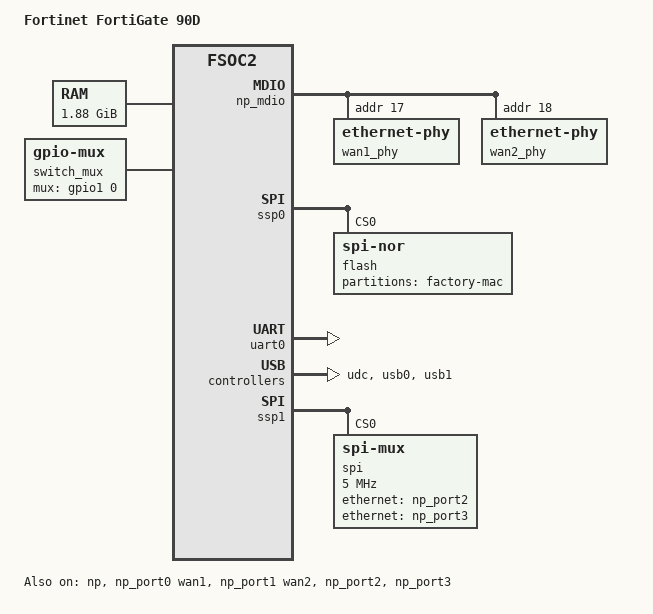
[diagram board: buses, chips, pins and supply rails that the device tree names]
// SPDX-License-Identifier: GPL-2.0-only OR MIT
/dts-v1/;

/*
 * FortiGate 90D. Same SoC as the 60D (FortiSOC2), so the layout follows
 * fortinet-fg60d.dts, but the system runs on core 1 (the boot loader of the
 * 90D starts core 1 and parks core 0), hence its own interrupt controller.
 * The two BCM53128 switches are managed through SPI, as DSA switches behind
 * links 2 and 3 of the network processor: they form ONE DSA tree joined by
 * their cascade, switch 0 port 0 <-> switch 1 port 7, a DSA link; each
 * switch keeps its own CPU port (link 2 / link 3 of the NP). GPIO lines
 * and LEDs other than the switch multiplexer are not described: their use
 * is not known.
 */

#include "fsoc2.dtsi"
#include <dt-bindings/gpio/gpio.h>

/ {
	model = "Fortinet FortiGate 90D";
	compatible = "fortinet,fg90d", "fortinet,fsoc2";

	aliases {
		serial0 = &uart0;
	};

	chosen {
		stdout-path = "serial0:9600n8";
	};

	/*
	 * 2 GiB of RAM; the top 128 MiB are reserved below, as on the 60D.
	 */
	memory@0 {
		device_type = "memory";
		reg = <0x00000000 0x78000000>;
	};

	reserved-memory {
		#address-cells = <1>;
		#size-cells = <1>;
		ranges;

		/*
		 * Same regions as the 60D, not checked on the 90D (same boot
		 * loader family). Kept reserved so that nothing the boot
		 * loader or the network processor may use is handed to the
		 * kernel.
		 */
		np_loader: np-loader@9a00000 {
			reg = <0x09a00000 0x00200000>;
			no-map;
		};

		np_pbuf: np-pbuf@9c00000 {
			reg = <0x09c00000 0x01000000>;
			no-map;
		};

		np_flow: np-flow@3c000000 {
			reg = <0x3c000000 0x03800000>;
			no-map;
		};

		np_sa: np-sa@3fc00000 {
			reg = <0x3fc00000 0x00400000>;
			no-map;
		};

		vendor_reserved: memory@78000000 {
			reg = <0x78000000 0x08000000>;
			no-map;
		};
	};

	/*
	 * Internal 8 GB USB boot disk: write windows of its installer, armed
	 * from user space (sector 0, where only the name and build number of
	 * image 1 and the active flags of partitions 1 and 2 may change, and
	 * partition 2, the slot of image 1), and the persistent window of the
	 * writable file system of that slot (rootfs_data, sectors 557056 to
	 * 1048575, after the 16 380 KiB boot image at sectors 524289 to
	 * 557048), open without arming. rootfs_data is aligned on the 4 KiB
	 * pages of the page cache of the disk, through which its loop device
	 * writes; sectors 557049 to 557055 and 1048576 of the slot stay unused.
	 */
	write-windows {
		compatible = "fortinet,usb-disk-write-windows";
		fortinet,disk-vendor = "FORTINET";
		fortinet,disk-model = "61_V030910_008";
		fortinet,disk-sectors = /bits/ 64 <15654912>;
		fortinet,write-windows = <0 1>, <524289 524288>;
		fortinet,sector0-bytes = <0x30 32>, <0x12c 4>, <0x1be 1>, <0x1ce 1>;
		fortinet,persistent-windows = <557056 491520>;
	};

	/* Writable file system of the slot of image 1, for user space */
	rootfs-data {
		compatible = "fortinet,disk-rootfs-data";
		fortinet,disk-vendor = "FORTINET";
		fortinet,disk-model = "61_V030910_008";
		fortinet,disk-sectors = /bits/ 64 <15654912>;
		fortinet,rootfs-data = <557056 491520>;
	};
};

/*
 * No GPIO line is known on this board: all of them are reserved, never
 * touched. No button, no LED is described.
 */
&gpio1 {
	status = "okay";
};

/*
 * L2 cache left off for now: the auxiliary control value found on the 90D
 * (0x12033) differs from the one the driver writes (0x12023).
 */
&l2 {
	status = "disabled";
};

/*
 * The interrupt controller of the core on the 90D is the one at
 * 0xf0500000, not 0xf0400000 as on the 60D: the controller at 0xf0400000
 * latches the interrupts but its output does not reach the core.
 */
&intc {
	reg = <0xf0500000 0x1000>;
};

/*
 * Network processor: base MAC address from the boot flash (mac_base below);
 * not a device, the cell would hold the probe of the network processor
 * forever if the flash failed, as on the 60D. Reset pins: GPIO 0, 2, 4 and
 * 6 of the NP GPIO block, pulsed to release the PHYs and switches from
 * reset (GPIO 6 in addition to the 60D).
 */
&np {
	memory-region = <&np_pbuf>, <&np_loader>, <&np_flow>, <&np_sa>;
	nvmem-cells = <&mac_base 0>;
	nvmem-cell-names = "mac-base";
	post-init-providers = <&mac_base>;
	fortinet,reset-pins = <0 2 4 6>;
	status = "okay";
};

/*
 * PHYs of WAN1 and WAN2 at MDIO addresses 0x11 and 0x12 (0x18/0x19 on the
 * 60D), without LED description.
 */
&np_mdio {
	wan1_phy: ethernet-phy@11 {
		reg = <0x11>;
	};

	wan2_phy: ethernet-phy@12 {
		reg = <0x12>;
	};
};

/*
 * MAC ranks: internal1 = base + 0,
 * wan1 = base + 1, wan2 = base + 2, internalN = base + N + 1 for N = 2 to 14
 * (internal2 = base + 3 ... internal14 = base + 15).
 *
 * Links of the NP: wan1 on link 0 and wan2 on link 1, but on logical
 * interfaces (LIFs) 2 and 3, the LIF numbers of the 60D, hence
 * "fortinet,logical-interface". The two BCM53128 switches sit on links 2
 * and 3 (internal1-7 and internal8-14 on LIFs 4 to 17): see the DSA
 * conduits below.
 */
&np_port0 {
	label = "wan1";
	nvmem-cells = <&mac_base 1>;
	nvmem-cell-names = "mac-address";
	post-init-providers = <&mac_base>;
	fortinet,logical-interface = <2>;
	phy-handle = <&wan1_phy>;
	phy-mode = "rgmii-id";
	status = "okay";
};

&np_port1 {
	label = "wan2";
	nvmem-cells = <&mac_base 2>;
	nvmem-cell-names = "mac-address";
	post-init-providers = <&mac_base>;
	fortinet,logical-interface = <3>;
	phy-handle = <&wan2_phy>;
	phy-mode = "rgmii-id";
	status = "okay";
};

/*
 * SPI NOR flash of the boot loader (Winbond W25X40CL, 512 KiB), read only.
 * Only the 6 bytes of the base MAC address are described: the factory data
 * block sits at 0x3c000 and the MAC at +0x1880 into it, as on the 60D. The
 * partition is deliberately reduced to these 6 bytes because the factory
 * block of the 90D also holds a device certificate and a private key, which
 * must never be exposed.
 */
&ssp0 {
	status = "okay";

	flash@0 {
		compatible = "jedec,spi-nor";
		reg = <0>;

		partitions {
			compatible = "fixed-partitions";
			#address-cells = <1>;
			#size-cells = <1>;

			partition@3d880 {
				label = "factory-mac";
				reg = <0x3d880 0x6>;
				read-only;

				nvmem-layout {
					compatible = "fixed-layout";
					#address-cells = <1>;
					#size-cells = <1>;

					mac_base: mac-address@0 {
						compatible = "mac-base";
						reg = <0x0 0x6>;
						#nvmem-cell-cells = <1>;
					};
				};
			};
		};
	};
};

&uart0 {
	status = "okay";
};

/* Front panel "MGMT" port, the device side */
&udc {
	status = "okay";
};

&usb0 {
	status = "okay";
};

/* Internal USB flash drive, read only (see the rootfs) */
&usb1 {
	status = "okay";
};

/*
 * Two BCM53128 switches on the SPI bus, the switch selected by its chip
 * select and a board GPIO:
 *  - second FTSSP010 port (0xe4600000, SPI mode 3, set up by the boot
 *    loader), Broadcom SPI protocol of b53_spi;
 *  - chip select: line 19 of the GPIO block at 0xe4c00000, never line 15,
 *    the chip select of the boot flash;
 *  - board GPIO 0 selects the switch: 0 the one on link 2 (internal1-7),
 *    1 the one on link 3 (internal8-14).
 */
/ {
	/* Board GPIO 0: which switch the SPI bus reaches (0: link 2, 1: link 3) */
	switch_mux: mux-controller {
		compatible = "gpio-mux";
		#mux-control-cells = <0>;
		mux-gpios = <&gpio1 0 GPIO_ACTIVE_HIGH>;
	};
};

/*
 * Board GPIO: line 0 only is freed, for the switch multiplexer (an output
 * under the boot loader, DIR 0x01fe7f7f).
 * Every other line stays reserved, never touched.
 */
&gpio1 {
	gpio-reserved-ranges = <1 31>;
};

&{/soc} {
	/*
	 * Second FTSSP010 port, regular SPI messages (SPI_FSOC2_SSP_BUS). The
	 * data set and data clear registers of the chip select block are
	 * those of ssp0 (shared, mapped but not requested); the driver checks
	 * that line 19 is not the line of any flash port before it writes
	 * anything. "pad" = SCU+0x328, whose bit 31 the driver sets to mux
	 * the chip-select pad to GPIO, before driving line 19 as an output.
	 */
	ssp1: spi@e4600000 {
		compatible = "fortinet,fsoc2-ssp-bus";
		reg = <0xe4600000 0x1c>, <0xe4c00010 0x8>, <0xe5100328 0x4>;
		reg-names = "ssp", "cs", "pad";
		fortinet,cs-line = <19>;
		#address-cells = <1>;
		#size-cells = <0>;

		spi@0 {
			compatible = "spi-mux";
			reg = <0>;
			/* SCLKDIV 5 of the boot loader; the port keeps its rate */
			spi-max-frequency = <5000000>;
			spi-cpol;
			spi-cpha;
			mux-controls = <&switch_mux>;
			#address-cells = <1>;
			#size-cells = <0>;

			/*
			 * Front port of each switch port (LIFs 4-17 = switch
			 * ports internal1-14), board variant 1 of two, the
			 * variant being given by board GPIO 16: GPIO 16 reads
			 * high on this unit, and unplugging front ports 1 and 2 dropped
			 * ports 7 and 6. internal1-7 are on ports 7 down to 1,
			 * internal8-14 on ports 6 down to 0 (variant 0 has
			 * internal1-7 on ports 6, 7, 4, 5, 3, 2, 1 and internal8-14
			 * on ports 6, 4, 5, 2, 3, 1, 0).
			 */
			ethernet-switch@0 {
				compatible = "brcm,bcm53128";
				reg = <0>;		/* mux state 0: link 2 */
				spi-max-frequency = <5000000>;
				spi-cpol;
				spi-cpha;
				dsa,member = <0 0>;
				/*
				 * Traffic class 7 on every user port: the
				 * network processor classes the frames of
				 * the switch on their tag (port and class)
				 * and never matches port 0 in class 0.
				 */
				brcm,port-traffic-class = <7>;

				ethernet-ports {
					#address-cells = <1>;
					#size-cells = <0>;

					/* Cascade to switch 1 port 7, DSA link */
					sw0_p0: ethernet-port@0 {
						reg = <0>;
						link = <&sw1_p7>;
					};

					ethernet-port@1 {
						reg = <1>;
						label = "internal7";
						nvmem-cells = <&mac_base 8>;
						nvmem-cell-names = "mac-address";
						post-init-providers = <&mac_base>;
					};

					ethernet-port@2 {
						reg = <2>;
						label = "internal6";
						nvmem-cells = <&mac_base 7>;
						nvmem-cell-names = "mac-address";
						post-init-providers = <&mac_base>;
					};

					ethernet-port@3 {
						reg = <3>;
						label = "internal5";
						nvmem-cells = <&mac_base 6>;
						nvmem-cell-names = "mac-address";
						post-init-providers = <&mac_base>;
					};

					ethernet-port@4 {
						reg = <4>;
						label = "internal4";
						nvmem-cells = <&mac_base 5>;
						nvmem-cell-names = "mac-address";
						post-init-providers = <&mac_base>;
					};

					ethernet-port@5 {
						reg = <5>;
						label = "internal3";
						nvmem-cells = <&mac_base 4>;
						nvmem-cell-names = "mac-address";
						post-init-providers = <&mac_base>;
					};

					ethernet-port@6 {
						reg = <6>;
						label = "internal2";
						nvmem-cells = <&mac_base 3>;
						nvmem-cell-names = "mac-address";
						post-init-providers = <&mac_base>;
					};

					ethernet-port@7 {
						reg = <7>;
						label = "internal1";
						nvmem-cells = <&mac_base 0>;
						nvmem-cell-names = "mac-address";
						post-init-providers = <&mac_base>;
					};

					/* IMP port, RGMII to link 2 of the NP (assumed, as on the 60D) */
					ethernet-port@8 {
						reg = <8>;
						ethernet = <&np_port2>;
						phy-mode = "rgmii";

						fixed-link {
							speed = <1000>;
							full-duplex;
						};
					};
				};
			};

			ethernet-switch@1 {
				compatible = "brcm,bcm53128";
				reg = <1>;		/* mux state 1: link 3 */
				spi-max-frequency = <5000000>;
				spi-cpol;
				spi-cpha;
				dsa,member = <0 1>;
				/*
				 * Traffic class 7 on every user port: the
				 * network processor classes the frames of
				 * the switch on their tag (port and class)
				 * and never matches port 0 in class 0.
				 */
				brcm,port-traffic-class = <7>;

				ethernet-ports {
					#address-cells = <1>;
					#size-cells = <0>;

					ethernet-port@0 {
						reg = <0>;
						label = "internal14";
						nvmem-cells = <&mac_base 15>;
						nvmem-cell-names = "mac-address";
						post-init-providers = <&mac_base>;
					};

					ethernet-port@1 {
						reg = <1>;
						label = "internal13";
						nvmem-cells = <&mac_base 14>;
						nvmem-cell-names = "mac-address";
						post-init-providers = <&mac_base>;
					};

					ethernet-port@2 {
						reg = <2>;
						label = "internal12";
						nvmem-cells = <&mac_base 13>;
						nvmem-cell-names = "mac-address";
						post-init-providers = <&mac_base>;
					};

					ethernet-port@3 {
						reg = <3>;
						label = "internal11";
						nvmem-cells = <&mac_base 12>;
						nvmem-cell-names = "mac-address";
						post-init-providers = <&mac_base>;
					};

					ethernet-port@4 {
						reg = <4>;
						label = "internal10";
						nvmem-cells = <&mac_base 11>;
						nvmem-cell-names = "mac-address";
						post-init-providers = <&mac_base>;
					};

					ethernet-port@5 {
						reg = <5>;
						label = "internal9";
						nvmem-cells = <&mac_base 10>;
						nvmem-cell-names = "mac-address";
						post-init-providers = <&mac_base>;
					};

					ethernet-port@6 {
						reg = <6>;
						label = "internal8";
						nvmem-cells = <&mac_base 9>;
						nvmem-cell-names = "mac-address";
						post-init-providers = <&mac_base>;
					};

					/* Cascade to switch 0 port 0, DSA link */
					sw1_p7: ethernet-port@7 {
						reg = <7>;
						link = <&sw0_p0>;
					};

					/* IMP port, RGMII to link 3 of the NP (assumed, as on the 60D) */
					ethernet-port@8 {
						reg = <8>;
						ethernet = <&np_port3>;
						phy-mode = "rgmii";

						fixed-link {
							speed = <1000>;
							full-duplex;
						};
					};
				};
			};
		};
	};
};

/*
 * DSA conduits. The network processor classes the frames of each switch
 * port on a LIF of its own (FORTINET_NP4LITE_DSA, enabled in the kernel
 * configuration): internal1 to internal7 on LIFs 4 to 10, internal8 to
 * internal14 on LIFs 11 to 17 (internalN = LIF N + 3);
 * "fortinet,switch-logical-interfaces" gives the LIF of switch port 0 to 7
 * (0: no port), board variant 1 (see the switches above). The conduits
 * take LIFs 18 (link 2) and 19 (link 3) for the switch frames the NP does
 * not class by port; LIFs 0 and 1 (used by the boot loader) are left
 * alone. LIFs above 8 need FORTINET_NP4LITE_DSA: without it, the NP
 * refuses them at probe. Assumed: no delay on the NP side, the switch adds
 * them, as on the 60D.
 */
&np_port2 {
	fortinet,logical-interface = <18>;
	fortinet,switch-logical-interfaces = <0 10 9 8 7 6 5 4>;
	/* base + 0, the address of the conduit */
	nvmem-cells = <&mac_base 0>;
	nvmem-cell-names = "mac-address";
	post-init-providers = <&mac_base>;
	phy-mode = "rgmii";
	status = "okay";

	fixed-link {
		speed = <1000>;
		full-duplex;
	};
};

&np_port3 {
	fortinet,logical-interface = <19>;
	fortinet,switch-logical-interfaces = <17 16 15 14 13 12 11 0>;
	/* base + 0, the address of the conduit */
	nvmem-cells = <&mac_base 0>;
	nvmem-cell-names = "mac-address";
	post-init-providers = <&mac_base>;
	phy-mode = "rgmii";
	status = "okay";

	fixed-link {
		speed = <1000>;
		full-duplex;
	};
};
